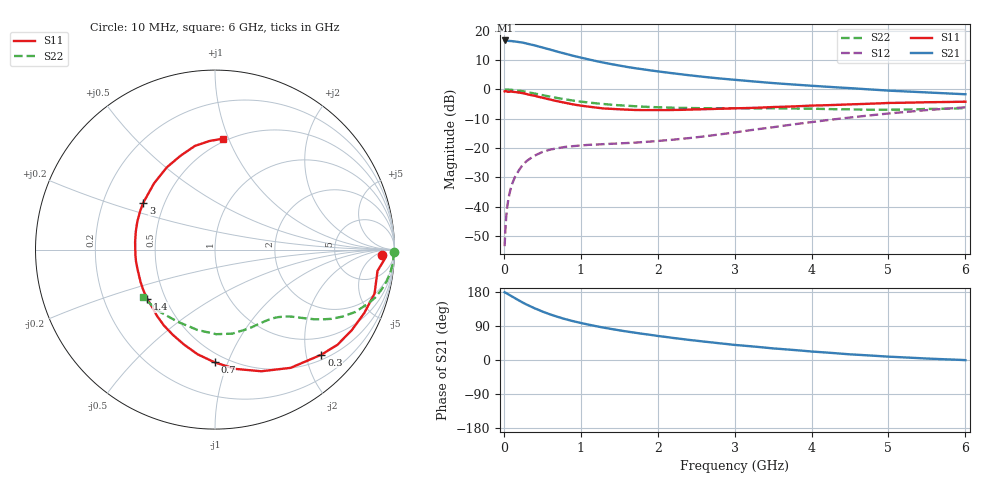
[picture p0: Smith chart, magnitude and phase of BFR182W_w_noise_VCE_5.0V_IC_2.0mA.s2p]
! Infineon Technologies  Discrete & RF Semiconductors
! BFR182W
! VCE =  5.0 V,  IC =  2.0 mA
! Common Emitter S-Parameters:  Jan 2017
# GHz  S  MA  R  50
!  f  S11  S21  S12  S22
! GHz  MAG  ANG  MAG  ANG  MAG  ANG  MAG  ANG
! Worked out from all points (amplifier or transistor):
!   77 points, 10 MHz to 6 GHz, reference 50 ohm
!   highest |S21| = 16.8 dB at 20 MHz (marker M1)
!   |S21| within 3 dB of that: start of sweep to 585.2 MHz
!   unconditionally stable (mu >= 1): 1.78 GHz to 3.153 GHz
!   at 130 MHz: K = 0.08, MSG = 23.6 dB, |S12| = -30.8 dB
!   at 2.2 GHz: K = 1.08, MAG = 9.6 dB, |S12| = -17.2 dB
!   at 6 GHz: K = 0.82, MSG = 2.2 dB, |S12| = -6.1 dB
!   lowest NFmin = 0.85 dB at 450 MHz
!   S11 on the Smith chart (normalised r, x): 10 MHz: 24, -10; 300 MHz: 0.60, -2.30; 700 MHz: 0.43, -0.90; 1.4 GHz: 0.40, -0.28; 3 GHz: 0.38, +0.26; 6 GHz: 0.48, +0.95
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0.01  0.9308 -1.7  6.794 178.9  0.0021 91.0  1 -0.7
0.02  0.9465 -3.2  6.89 177.9  0.004 93.5  0.9935 -1.5
0.03  0.9348 -4.6  6.858 176.7  0.0064 87.9  0.9942 -2.2
0.05  0.9131 -7.5  6.803 174.3  0.0112 83.9  0.9961 -3.6
0.1  0.9221 -15.4  6.725 168.4  0.0226 81.4  0.9862 -7.1
0.2  0.8845 -30.5  6.451 156.7  0.0424 73.5  0.9535 -13.6
0.25  0.8642 -37.8  6.309 151.0  0.0525 68.7  0.9323 -16.6
0.3  0.8333 -44.6  6.093 145.9  0.0604 65.2  0.9059 -19.3
0.4  0.7819 -57.4  5.683 136.4  0.074 59.2  0.8549 -24.0
0.5  0.7251 -69.2  5.229 128.0  0.0854 53.9  0.8025 -27.7
0.6  0.6743 -80.3  4.819 120.5  0.0938 49.8  0.7555 -30.7
0.7  0.6282 -90.2  4.421 113.8  0.0994 47.1  0.7134 -33.0
0.9  0.5561 -108.2  3.773 102.5  0.1076 42.6  0.6471 -36.5
1.1  0.5096 -124.0  3.272 93.4  0.1132 40.9  0.5995 -39.1
1.4  0.4667 -144.1  2.711 81.8  0.1181 41.1  0.5493 -42.7
1.7  0.4471 -161.5  2.32 72.2  0.1233 43.4  0.518 -46.5
2.1  0.4444 179.1  1.964 61.0  0.1353 48.1  0.4926 -52.4
3  0.4775 146.8  1.465 39.8  0.1843 57.2  0.4771 -68.6
3.1  0.4799 143.9  1.427 38.1  0.1927 57.6  0.4762 -70.6
4.1  0.5347 118.4  1.137 21.0  0.2879 56.8  0.4669 -91.7
5.1  0.591 99.3  0.943 7.9  0.3997 48.3  0.4524 -120.5
6  0.6193 85.9  0.829 -0.3  0.4963 37.8  0.4812 -146.4
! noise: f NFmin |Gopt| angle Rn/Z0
0.45  0.85  0.5  30  0.26
0.9  0.99  0.4  58  0.24
1.9  1.74  0.3  142  0.14
2.4  2.11  0.26  164  0.19
